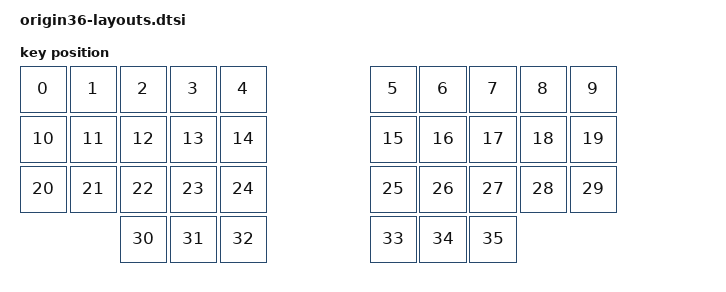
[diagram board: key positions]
/*
 * Copyright (c) 2024 The ZMK Contributors
 * SPDX-License-Identifier: MIT
 */

#include <physical_layouts.dtsi>

/ {
    origin36_physical_layout: origin36_physical_layout {
        compatible = "zmk,physical-layout";
        display-name = "Origin36";
        transform = <&default_transform>;
        kscan = <&kscan0>;
        keys //                      w   h     x    y  rot rx ry
            // Row 0 (Top)
            = <&key_physical_attrs 100 100     0    0    0  0  0> // Q
            , <&key_physical_attrs 100 100   100    0    0  0  0> // W
            , <&key_physical_attrs 100 100   200    0    0  0  0> // E
            , <&key_physical_attrs 100 100   300    0    0  0  0> // R
            , <&key_physical_attrs 100 100   400    0    0  0  0> // T
            , <&key_physical_attrs 100 100   700    0    0  0  0> // Y
            , <&key_physical_attrs 100 100   800    0    0  0  0> // U
            , <&key_physical_attrs 100 100   900    0    0  0  0> // I
            , <&key_physical_attrs 100 100  1000    0    0  0  0> // O
            , <&key_physical_attrs 100 100  1100    0    0  0  0> // P
            // Row 1 (Home)
            , <&key_physical_attrs 100 100     0  100    0  0  0> // A
            , <&key_physical_attrs 100 100   100  100    0  0  0> // S
            , <&key_physical_attrs 100 100   200  100    0  0  0> // D
            , <&key_physical_attrs 100 100   300  100    0  0  0> // F
            , <&key_physical_attrs 100 100   400  100    0  0  0> // G
            , <&key_physical_attrs 100 100   700  100    0  0  0> // H
            , <&key_physical_attrs 100 100   800  100    0  0  0> // J
            , <&key_physical_attrs 100 100   900  100    0  0  0> // K
            , <&key_physical_attrs 100 100  1000  100    0  0  0> // L
            , <&key_physical_attrs 100 100  1100  100    0  0  0> // ;
            // Row 2 (Bottom)
            , <&key_physical_attrs 100 100     0  200    0  0  0> // Z
            , <&key_physical_attrs 100 100   100  200    0  0  0> // X
            , <&key_physical_attrs 100 100   200  200    0  0  0> // C
            , <&key_physical_attrs 100 100   300  200    0  0  0> // V
            , <&key_physical_attrs 100 100   400  200    0  0  0> // B
            , <&key_physical_attrs 100 100   700  200    0  0  0> // N
            , <&key_physical_attrs 100 100   800  200    0  0  0> // M
            , <&key_physical_attrs 100 100   900  200    0  0  0> // ,
            , <&key_physical_attrs 100 100  1000  200    0  0  0> // .
            , <&key_physical_attrs 100 100  1100  200    0  0  0> // /
            // Row 3 (Thumbs: C/V/B直下, N/M/,直下)
            , <&key_physical_attrs 100 100   200  300    0  0  0> // 左親指Outer (C直下)
            , <&key_physical_attrs 100 100   300  300    0  0  0> // 左親指Mid   (V直下)
            , <&key_physical_attrs 100 100   400  300    0  0  0> // 左親指Inner (B直下)
            , <&key_physical_attrs 100 100   700  300    0  0  0> // 右親指Inner (N直下)
            , <&key_physical_attrs 100 100   800  300    0  0  0> // 右親指Mid   (M直下)
            , <&key_physical_attrs 100 100   900  300    0  0  0> // 右親指Outer (,直下)
            ;
    };
};
